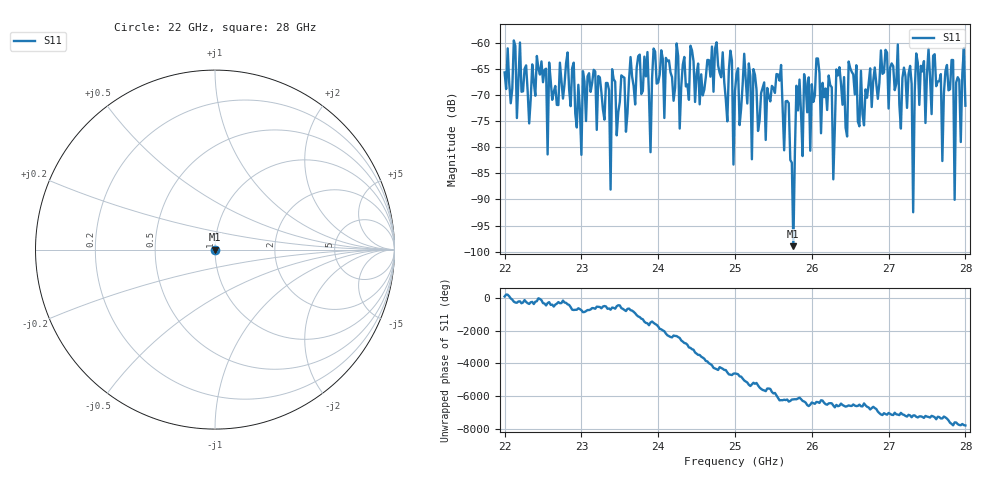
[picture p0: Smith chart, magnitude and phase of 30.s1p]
#  HZ  S  RI  R  50.00
! Rohde & Schwarz ZVA40 4Ports - Version 3.90 - 1145.1110k42 SN: 100403
! Date: 2023-10-04 09:26:43
! Measurement: S12
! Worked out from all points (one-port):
!   301 points, 22 GHz to 28 GHz, reference 50 ohm
!   lowest |S11| = -99.0 dB at 25.76 GHz (marker M1), VSWR 1.00, Z = 50 - j0.000958 ohm
!   |S11| at or under -10 dB: start of sweep to end of sweep
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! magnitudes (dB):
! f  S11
! 22 GHz  -65.6
! 22.76 GHz  -70.6
! 23.5 GHz  -71.3
! 23.86 GHz  -61.7
! 23.9 GHz  -80.9
! 23.94 GHz  -61.0
! 24.08 GHz  -74.4
! 24.26 GHz  -62.5
! 24.28 GHz  -76.4
! 24.42 GHz  -60.5
! 25 GHz  -69.2
! 25.4 GHz  -78.6
! 25.6 GHz  -64.2
! 25.76 GHz  -99.0
! 25.9 GHz  -65.9
! 25.98 GHz  -80.6
! 26.06 GHz  -62.9
! 26.46 GHz  -77.9
! 26.5 GHz  -64.8
! 27.26 GHz  -65.9
! 27.32 GHz  -92.5
! 27.36 GHz  -62.0
! 27.68 GHz  -65.9
! 27.7 GHz  -82.6
! 27.76 GHz  -64.2
! 27.84 GHz  -63.2
! 27.86 GHz  -90.1
! 28 GHz  -72.0
